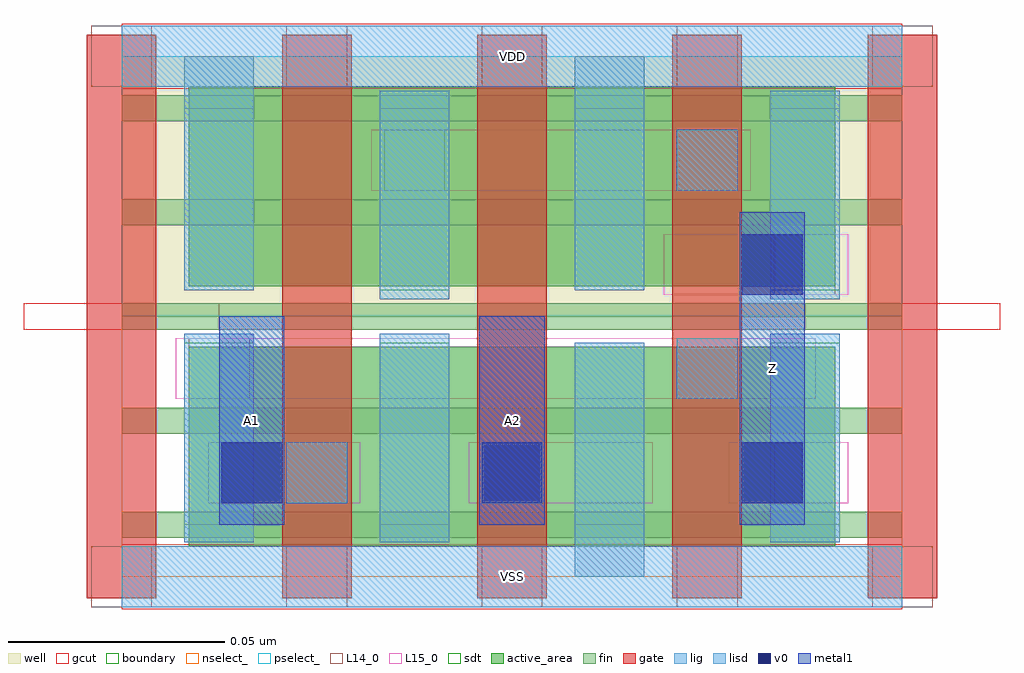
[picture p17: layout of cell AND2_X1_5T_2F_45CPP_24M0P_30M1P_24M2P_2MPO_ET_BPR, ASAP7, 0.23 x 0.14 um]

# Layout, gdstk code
import gdstk
lib = gdstk.Library(unit=1e-6, precision=2.5e-10)
def R(c, l, rs):  # rectangles x0, y0, x1, y1
    for r in rs: c.add(gdstk.rectangle(r[:2], r[2:], *l))
def A(c, l, x, y, w, h, nx, ny, dx, dy):  # array of equal rectangles
    R(c, l, [(x+i*dx, y+j*dy, x+i*dx+w, y+j*dy+h) for i in range(nx) for j in range(ny)])
well = (1, 0)
fin = (2, 0)
gate = (7, 0)
gcut = (10, 0)
active_area = (11, 0)
nselect_ = (12, 0)
pselect_ = (13, 0)
L14_0 = (14, 0)
L15_0 = (15, 0)
lig = (16, 0)
lisd = (17, 0)
v0 = (18, 0)
metal1 = (19, 0)
sdt = (88, 0)
boundary = (100, 0)

and2_x1_5t_2f_45cpp_24m0 = lib.new_cell('AND2_X1_5T_2F_45CPP_24M0P_30M1P_24M2P_2MPO_ET_BPR')
R(and2_x1_5t_2f_45cpp_24m0, well, [(0,0.06,0.18,0.12)])
A(and2_x1_5t_2f_45cpp_24m0, fin, 0, 0.009, 0.18, 0.006, 1, 5, 0, 0.024)
A(and2_x1_5t_2f_45cpp_24m0, gate, -0.008, -0.005, 0.016, 0.13, 5, 1, 0.045, 0)
R(and2_x1_5t_2f_45cpp_24m0, gcut, [(0,-0.0075,0.18,0.0075), (-0.0225,0.057,0.0225,0.063), (0.1575,0.057,0.2025,0.063), (0,0.1125,0.18,0.1275)])
A(and2_x1_5t_2f_45cpp_24m0, active_area, 0.0155, 0.007, 0.059, 0.046, 3, 2, 0.045, 0.06)
R(and2_x1_5t_2f_45cpp_24m0, nselect_, [(0,0,0.18,0.06)])
R(and2_x1_5t_2f_45cpp_24m0, pselect_, [(0,0.06,0.18,0.12)])
A(and2_x1_5t_2f_45cpp_24m0, L14_0, -0.007, -0.007, 0.014, 0.014, 5, 2, 0.045, 0.12)
R(and2_x1_5t_2f_45cpp_24m0, L14_0, [(0.038,0.017,0.052,0.031), (0.083,0.017,0.097,0.031), (0.1505,0.017,0.1645,0.031), (0.0155,0.041,0.0295,0.055), (0.128,0.041,0.142,0.055), (0.1505,0.065,0.1645,0.079), (0.0605,0.089,0.0745,0.103), (0.128,0.089,0.142,0.103)])
R(and2_x1_5t_2f_45cpp_24m0, L15_0, [(0,-0.007,0.18,0.007), (0.02,0.017,0.055,0.031), (0.08,0.017,0.1225,0.031), (0.14,0.017,0.1675,0.031), (0.0125,0.041,0.16,0.055), (0.125,0.065,0.1675,0.079), (0.0575,0.089,0.145,0.103), (0,0.113,0.18,0.127)])
R(and2_x1_5t_2f_45cpp_24m0, lig, [(0,-0.007,0.18,0.007), (0.038,0.017,0.052,0.031), (0.083,0.017,0.097,0.031), (0.128,0.041,0.142,0.055), (0.128,0.089,0.142,0.103), (0,0.113,0.18,0.127)])
R(and2_x1_5t_2f_45cpp_24m0, lisd, [(0.1045,0,0.1205,0.054), (0.0145,0.008,0.0305,0.056), (0.0595,0.008,0.0755,0.056), (0.1495,0.008,0.1655,0.056), (0.0595,0.064,0.0755,0.112), (0.1495,0.064,0.1655,0.112), (0.0145,0.066,0.0305,0.12), (0.1045,0.066,0.1205,0.12)])
A(and2_x1_5t_2f_45cpp_24m0, v0, 0.023, 0.017, 0.014, 0.014, 3, 1, 0.06, 0)
R(and2_x1_5t_2f_45cpp_24m0, v0, [(0.143,0.065,0.157,0.079)])
R(and2_x1_5t_2f_45cpp_24m0, metal1, [(0.0225,0.012,0.0375,0.06), (0.0825,0.012,0.0975,0.06), (0.1425,0.012,0.1575,0.084)])
A(and2_x1_5t_2f_45cpp_24m0, sdt, 0.0145, 0.012, 0.016, 0.042, 4, 2, 0.045, 0.054)
R(and2_x1_5t_2f_45cpp_24m0, boundary, [(0,0,0.18,0.12)])
and2_x1_5t_2f_45cpp_24m0.add(gdstk.Label('Z', (0.15,0.048), layer=19, texttype=251))
and2_x1_5t_2f_45cpp_24m0.add(gdstk.Label('A1', (0.03,0.036), layer=19, texttype=251))
and2_x1_5t_2f_45cpp_24m0.add(gdstk.Label('A2', (0.09,0.036), layer=19, texttype=251))
and2_x1_5t_2f_45cpp_24m0.add(gdstk.Label('VDD', (0.09,0.12), layer=15, texttype=251))
and2_x1_5t_2f_45cpp_24m0.add(gdstk.Label('VSS', (0.09,0), layer=15, texttype=251))
and2_x1_5t_2f_45cpp_24m0.add(gdstk.Label('VDD', (0.09,0.12), layer=1, texttype=251))
and2_x1_5t_2f_45cpp_24m0.add(gdstk.Label('VSS', (0.09,0), layer=3, texttype=251))

lib.write_gds('AND2_X1_5T_2F_45CPP_24M0P_30M1P_24M2P_2MPO_ET_BPR.gds')
